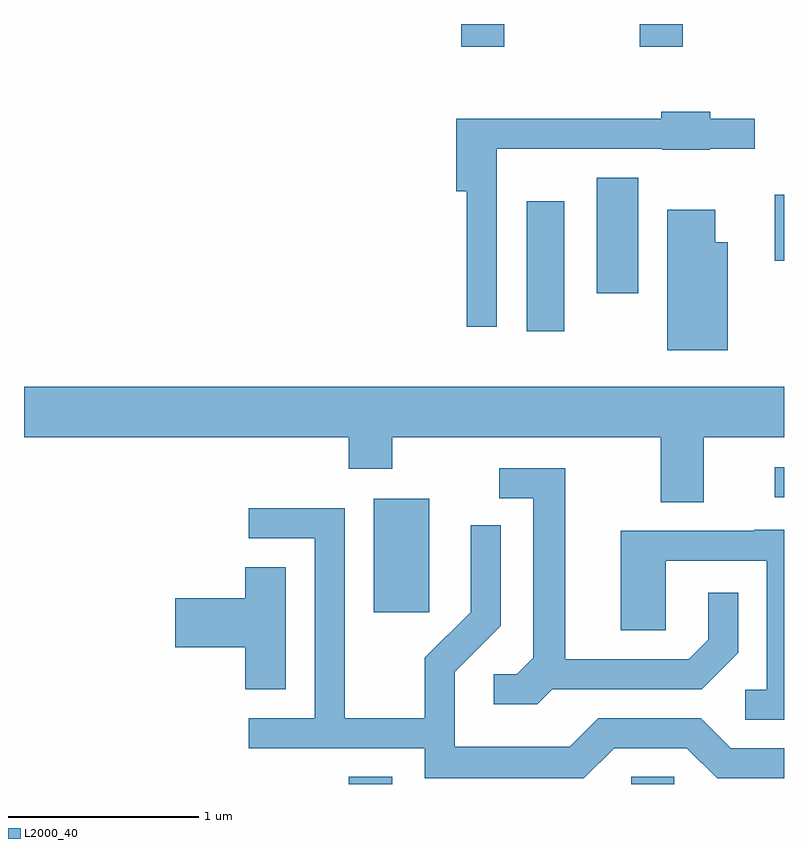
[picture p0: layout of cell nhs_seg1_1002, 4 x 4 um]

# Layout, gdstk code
import gdstk
lib = gdstk.Library(unit=1e-6, precision=1e-09)
def R(c, l, rs):  # rectangles x0, y0, x1, y1
    for r in rs: c.add(gdstk.rectangle(r[:2], r[2:], *l))
def P(c, l, *ps):  # polygons
    for p in ps: c.add(gdstk.Polygon(p, *l))
L2000_40 = (2000, 40)

nhs_seg1_1002 = lib.new_cell('nhs_seg1_1002')
R(nhs_seg1_1002, L2000_40, [(217.321,937.712,217.549,937.749), (218.806,937.712,219.034,937.749), (217.451,938.616,217.744,939.214), (219.563,939.221,219.611,939.379), (218.256,940.096,218.454,940.779), (218.626,940.296,218.844,940.904), (219.561,940.466,219.611,940.814), (217.911,941.591,218.139,941.712), (218.851,941.591,219.079,941.712)])
P(nhs_seg1_1002, L2000_40, [(218.099,941.056),(218.97,941.056),(218.97,941.051),(219.22,941.051),(219.22,941.056),(219.458,941.056),(219.458,941.214),(219.224,941.214),(219.224,941.249),(218.966,941.249),(218.966,941.214),(217.886,941.214),(217.886,940.831),(217.941,940.831),(217.941,940.118),(218.099,940.118)],
  [(219.314,940.564),(219.249,940.564),(219.249,940.734),(218.996,940.734),(218.996,939.996),(219.314,939.996)],
  [(219.189,939.536),(219.611,939.536),(219.611,939.804),(215.611,939.804),(215.611,939.536),(217.321,939.536),(217.321,939.371),(217.549,939.371),(217.549,939.536),(218.961,939.536),(218.961,939.196),(219.189,939.196)],
  [(218.392,938.211),(219.177,938.211),(219.369,938.404),(219.369,938.718),(219.211,938.718),(219.211,938.472),(219.109,938.369),(218.459,938.369),(218.459,939.374),(218.113,939.374),(218.113,939.216),(218.291,939.216),(218.291,938.377),(218.204,938.289),(218.083,938.289),(218.083,938.131),(218.312,938.131)],
  [(218.717,937.901),(219.099,937.901),(219.259,937.741),(219.611,937.741),(219.611,937.899),(219.332,937.899),(219.172,938.059),(218.634,938.059),(218.484,937.909),(217.879,937.909),(217.879,938.304),(218.119,938.544),(218.119,939.073),(217.961,939.073),(217.961,938.617),(217.721,938.377),(217.721,938.059),(217.299,938.059),(217.299,939.164),(216.793,939.164),(216.793,939.006),(217.141,939.006),(217.141,938.059),(216.793,938.059),(216.793,937.901),(217.721,937.901),(217.721,937.741),(218.557,937.741)],
  [(219.611,939.049),(219.455,939.049),(219.455,939.044),(218.751,939.044),(218.751,938.521),(218.989,938.521),(218.989,938.886),(219.521,938.886),(219.521,938.209),(219.408,938.209),(219.408,938.051),(219.611,938.051)],
  [(216.989,938.854),(216.776,938.854),(216.776,938.689),(216.406,938.689),(216.406,938.431),(216.776,938.431),(216.776,938.211),(216.989,938.211)])

lib.write_gds('nhs_seg1_1002.gds')
